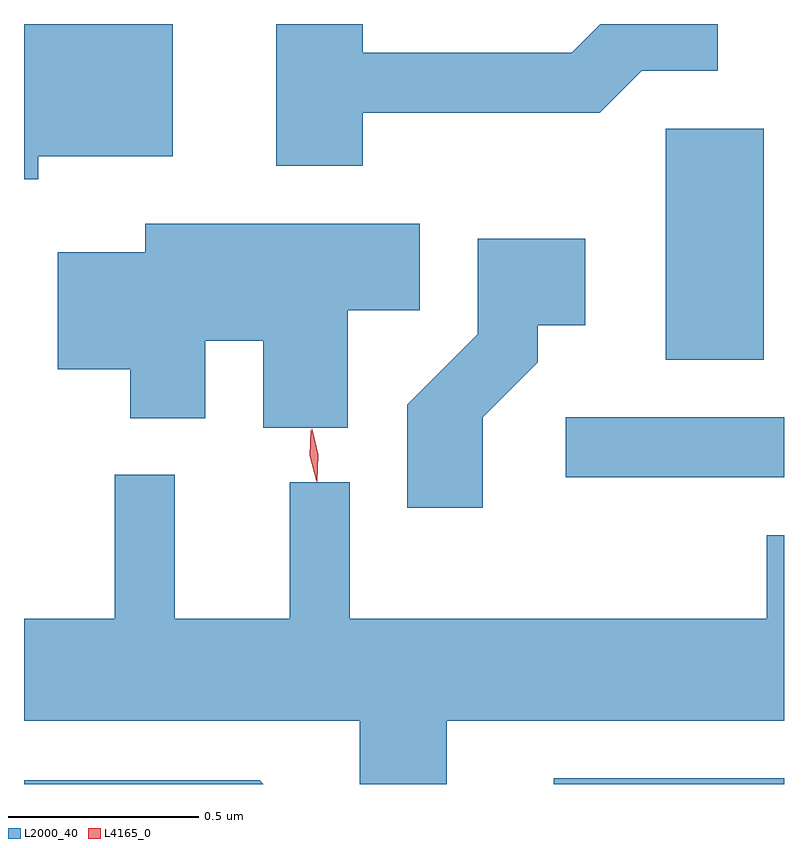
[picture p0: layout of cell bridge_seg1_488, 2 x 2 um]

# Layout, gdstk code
import gdstk
lib = gdstk.Library(unit=1e-6, precision=1e-09)
def R(c, l, rs):  # rectangles x0, y0, x1, y1
    for r in rs: c.add(gdstk.rectangle(r[:2], r[2:], *l))
def P(c, l, *ps):  # polygons
    for p in ps: c.add(gdstk.Polygon(p, *l))
L2000_40 = (2000, 40)
L4165_0 = (4165, 0)

bridge_seg1_488 = lib.new_cell('bridge_seg1_488')
R(bridge_seg1_488, L2000_40, [(332.971,841.689,333.577,841.704), (333.003,842.496,333.577,842.654), (333.266,842.806,333.524,843.414)])
P(bridge_seg1_488, L2000_40, [(332.469,843.456),(333.092,843.456),(333.202,843.566),(333.403,843.566),(333.403,843.689),(333.094,843.689),(333.019,843.614),(332.469,843.614),(332.469,843.689),(332.241,843.689),(332.241,843.316),(332.469,843.316)],
  [(331.614,843.341),(331.969,843.341),(331.969,843.689),(331.577,843.689),(331.577,843.281),(331.614,843.281)],
  [(332.429,842.936),(332.619,842.936),(332.619,843.164),(331.896,843.164),(331.896,843.089),(331.666,843.089),(331.666,842.781),(331.856,842.781),(331.856,842.651),(332.054,842.651),(332.054,842.856),(332.206,842.856),(332.206,842.626),(332.429,842.626)],
  [(332.784,842.654),(332.929,842.799),(332.929,842.896),(333.054,842.896),(333.054,843.124),(332.771,843.124),(332.771,842.872),(332.586,842.687),(332.586,842.416),(332.784,842.416)],
  [(332.689,841.856),(333.577,841.856),(333.577,842.344),(333.531,842.344),(333.531,842.124),(332.434,842.124),(332.434,842.483),(332.276,842.483),(332.276,842.124),(331.974,842.124),(331.974,842.503),(331.816,842.503),(331.816,842.124),(331.577,842.124),(331.577,841.856),(332.461,841.856),(332.461,841.689),(332.689,841.689)],
  [(332.197,841.699),(331.577,841.699),(331.577,841.689),(332.207,841.689)])
P(bridge_seg1_488, L4165_0, [(332.347,842.488),(332.346,842.489),(332.329,842.553),(332.331,842.62),(332.332,842.62),(332.332,842.62),(332.35,842.556),(332.348,842.489)],
  [(332.348,842.485),(332.348,842.486),(332.331,842.553),(332.334,842.623),(332.335,842.623),(332.335,842.623),(332.351,842.555),(332.349,842.486)])

lib.write_gds('bridge_seg1_488.gds')
